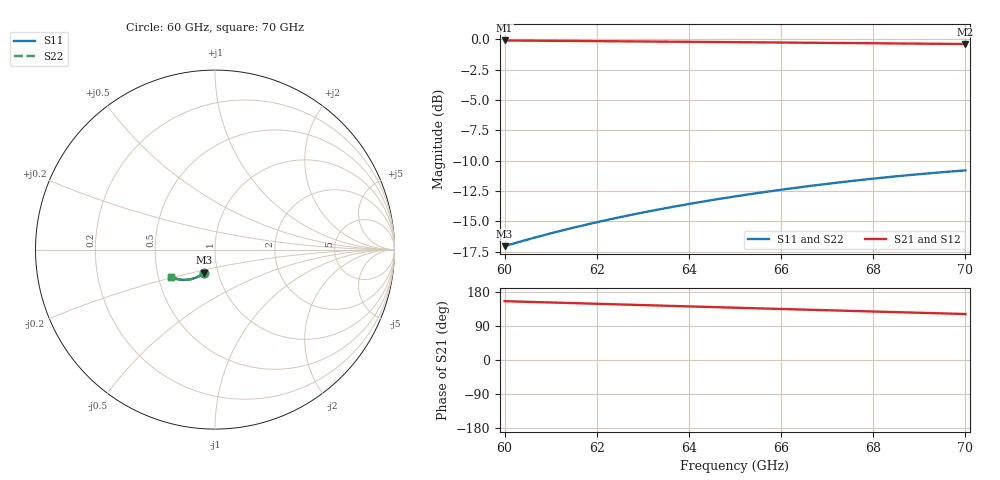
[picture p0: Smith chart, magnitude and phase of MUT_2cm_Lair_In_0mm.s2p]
! TOUCHSTONE file generated by CST MICROWAVE STUDIO
! Date and time: Fri Mar  8 11:09:23 2024
! Project name: material_angular.cst
! Parameters = {d=9; Yi=5; iiii=5; exis2=5; exis=5; X=5; Z=5; Y=2}
! Header version: 2018
! Port assignment regex: !\s*Touchstone port\s*([0-9]+)\s*=\s*(CST MWS port|CST DS port)\s*([0-9]+|Zmin|Zmax)\s*\(\"(.*)\"\)(\s*mode\s*([0-9]+))?.*
! Touchstone port assignment:
! Touchstone port 1 = CST MWS port 1 ("")
! Touchstone port 2 = CST MWS port 2 ("")
# GHz S MA R 376.7
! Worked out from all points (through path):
!   1001 points, 60 GHz to 70 GHz, reference 376.7 ohm
!   highest |S21| = -0.09 dB at 60 GHz (marker M1); lowest = -0.4 dB at 70 GHz (marker M2)
!   group delay of S21, straight-line fit = 9.41 ps
!   lowest |S11| = -17.0 dB at 60 GHz (marker M3), VSWR 1.33, Z = 324 - j84.5 ohm
!   |S11| at or under -10 dB: start of sweep to end of sweep
!   |S22| runs from -17.0 to -10.8 dB; largest |S21 - S12| = 0.00046
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60  0.1407 -114.8  0.9901 155.2  0.9899 155.3  0.1406 -114.7
60.05  0.1416 -115.0  0.9899 155.1  0.9897 155.1  0.1416 -114.9
60.46  0.1491 -116.4  0.9887 153.6  0.9885 153.6  0.1491 -116.3
60.88  0.1567 -117.9  0.9874 152.2  0.9873 152.2  0.1567 -117.8
61.27  0.1636 -119.2  0.9863 150.8  0.9862 150.8  0.1637 -119.1
61.67  0.1707 -120.6  0.9851 149.4  0.985 149.4  0.1707 -120.5
62.07  0.1777 -122.0  0.9839 148.0  0.9839 148.0  0.1777 -121.9
62.49  0.1849 -123.5  0.9826 146.6  0.9827 146.6  0.185 -123.4
62.91  0.192 -124.9  0.9813 145.1  0.9815 145.1  0.1921 -124.8
63.34  0.1992 -126.4  0.9799 143.6  0.9802 143.7  0.1992 -126.3
63.74  0.2057 -127.8  0.9786 142.3  0.9789 142.3  0.2058 -127.7
64.15  0.2123 -129.2  0.9772 140.9  0.9775 140.9  0.2123 -129.1
64.57  0.2189 -130.6  0.9757 139.4  0.976 139.5  0.2189 -130.5
65  0.2255 -132.1  0.9742 138.0  0.9744 138.0  0.2255 -132.0
65.83  0.2378 -134.9  0.9712 135.2  0.9714 135.2  0.2378 -134.8
66.67  0.2496 -137.7  0.9681 132.3  0.9684 132.3  0.2496 -137.6
67.49  0.2605 -140.4  0.9652 129.6  0.9656 129.6  0.2605 -140.3
68.34  0.271 -143.2  0.9624 126.8  0.9628 126.8  0.2709 -143.2
68.78  0.2761 -144.6  0.961 125.3  0.9614 125.3  0.276 -144.6
69.24  0.2811 -146.1  0.9596 123.8  0.9599 123.8  0.2811 -146.1
69.95  0.2882 -148.5  0.9576 121.5  0.9577 121.5  0.2883 -148.5
70  0.2887 -148.6  0.9575 121.4  0.9576 121.4  0.2888 -148.6
